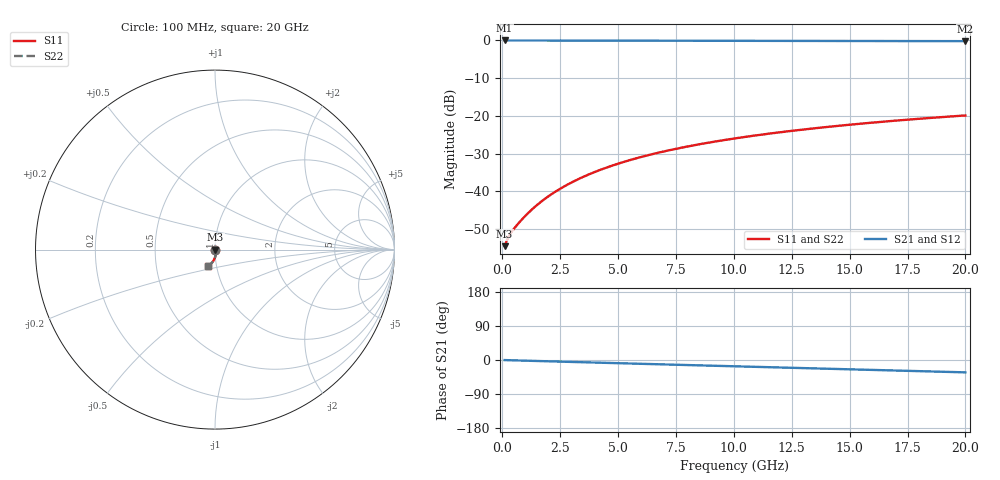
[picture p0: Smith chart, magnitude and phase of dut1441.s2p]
! Touchstone file exported from HFSS 2026.1.0
!  File:  C:/ffzhzh/LocalFiles/Ansys_Project_Files/temp_train_BSMRDL_1441_1783180550_55132.aedt
!  Generated:  11:56:57 PM Jul  4, 2026
!  Design:  BSMRDL
!  Project:  temp_train_BSMRDL_1441_1783180550_55132
! Variables:
!  h_bsmrdl = 5.58um
!  h_ox = 20um
!  h_rdl = 5um
!  h_sub = 80um
!  h_tmrdl = 5um
!  h_tsv = 80um
!  h_via = 3um
!  l_bsmrdl = 578.43um
!  l_sub = 978.43um
!  l_tmrdl = 200um
!  m_sub = 200um
!  pitch = 26.97um
!  r_tsv = 6um
!  s_tmrdl = 10um
!  w_bsmrdl = 23.45um
!  w_sub = 500um
!  w_tmrdl = 12um
!  x_tsv_center1 = 206um
!  x_tsv_center2 = 807.88um
!  x_tsv_center3 = 1019.88um
!  x_tsv_center4 = 1621.76um
!  x_tsv_center5 = 1833.76um
!  x_tsv_center6 = 2435.64um
# GHz S MA R 50.000000
! Terminal data exported
! Port[1] = BSM_RDL1_1_T1
! Port[2] = BSM_RDL1_1_T2
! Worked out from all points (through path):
!   200 points, 100 MHz to 20 GHz, reference 50 ohm
!   highest |S21| = -0.02 dB at 100 MHz (marker M1); lowest = -0.2 dB at 20 GHz (marker M2)
!   group delay of S21, straight-line fit = 4.51 ps
!   lowest |S11| = -54.5 dB at 100 MHz (marker M3), VSWR 1.00, Z = 50.2 + j0.0149 ohm
!   |S11| at or under -10 dB: start of sweep to end of sweep
!   |S22| runs from -54.5 to -19.9 dB; largest |S21 - S12| = 3.4e-15
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0.1  0.001884 4.5  0.9981 -0.2  0.9981 -0.2  0.001884 4.5
! Gamma 0 0 0 0
! Port Impedance 50 0 50 0
0.2  0.002259 0.3  0.9977 -0.4  0.9977 -0.4  0.002259 0.3
0.3  0.002603 -7.5  0.9974 -0.6  0.9974 -0.6  0.002603 -7.4
0.4  0.002907 -15.3  0.9972 -0.7  0.9972 -0.7  0.002908 -15.3
0.5  0.003197 -22.3  0.997 -0.9  0.997 -0.9  0.003198 -22.3
0.9  0.004428 -41.8  0.9966 -1.6  0.9966 -1.6  0.004431 -41.8
1.1  0.005115 -48.0  0.9964 -1.9  0.9964 -1.9  0.005117 -48.0
1.4  0.006221 -54.6  0.9961 -2.4  0.9961 -2.4  0.006224 -54.6
1.9  0.008229 -61.6  0.9956 -3.3  0.9956 -3.3  0.008233 -61.6
2.4  0.0104 -66.1  0.9951 -4.1  0.9951 -4.1  0.01041 -66.1
2.9  0.01271 -69.4  0.9944 -5.0  0.9944 -5.0  0.01271 -69.4
3.5  0.01561 -72.5  0.9937 -6.0  0.9937 -6.0  0.01562 -72.5
4.2  0.01914 -75.6  0.9928 -7.1  0.9928 -7.1  0.01915 -75.5
5  0.0233 -78.6  0.9918 -8.4  0.9918 -8.4  0.02331 -78.6
5.9  0.02807 -81.7  0.9908 -9.9  0.9908 -9.9  0.02809 -81.6
6.8  0.0329 -84.5  0.9898 -11.4  0.9898 -11.4  0.03292 -84.4
8.3  0.04098 -88.6  0.9883 -13.8  0.9883 -13.8  0.04101 -88.5
10.1  0.05064 -93.1  0.9866 -16.7  0.9866 -16.7  0.05069 -93.0
11.7  0.05917 -96.7  0.985 -19.3  0.985 -19.3  0.05923 -96.6
13.4  0.06813 -100.4  0.9834 -22.1  0.9834 -22.1  0.0682 -100.2
16.7  0.08513 -106.9  0.9801 -27.4  0.9801 -27.4  0.08522 -106.7
20  0.1014 -113.1  0.9767 -32.6  0.9767 -32.6  0.1015 -112.9
